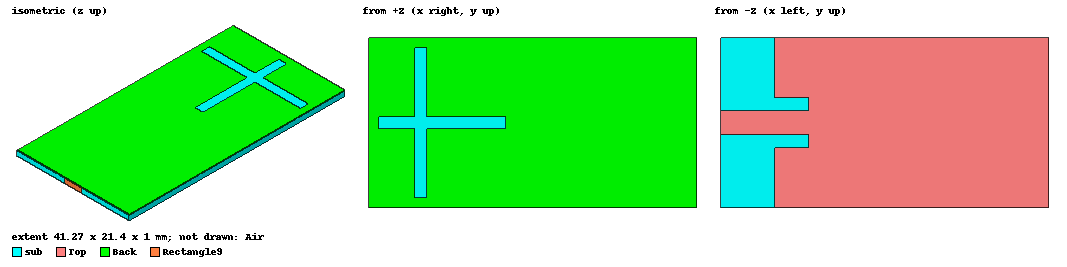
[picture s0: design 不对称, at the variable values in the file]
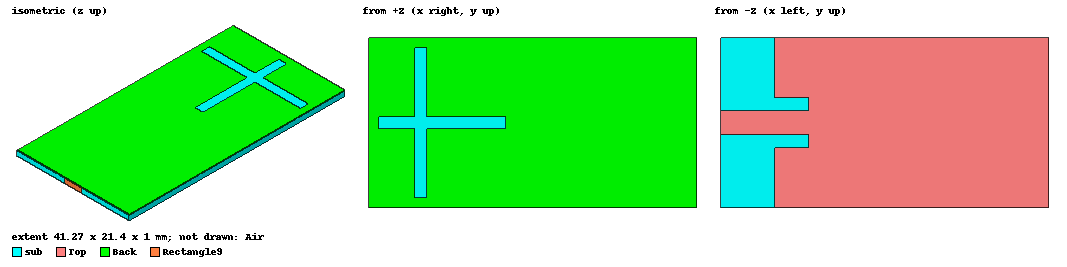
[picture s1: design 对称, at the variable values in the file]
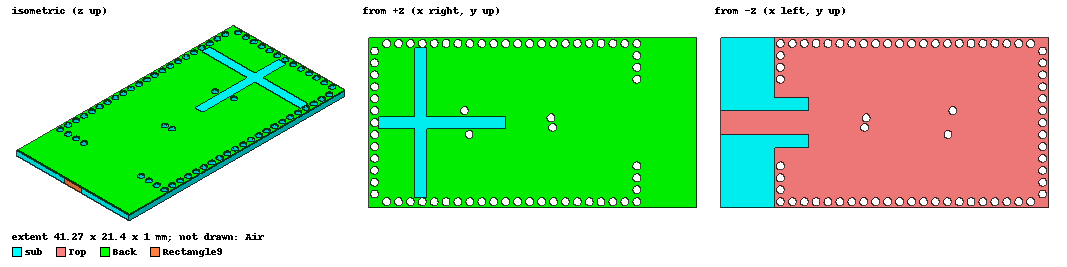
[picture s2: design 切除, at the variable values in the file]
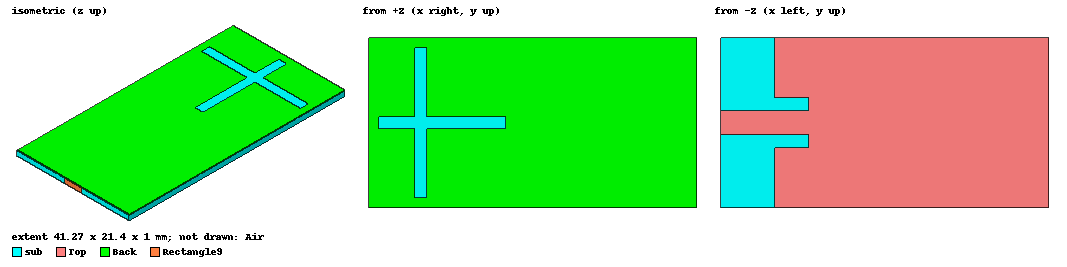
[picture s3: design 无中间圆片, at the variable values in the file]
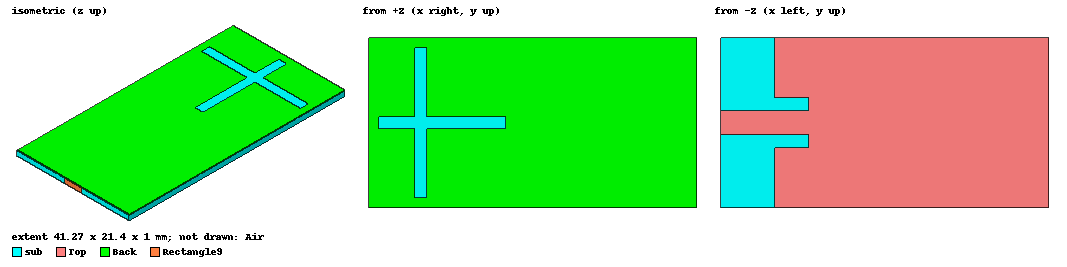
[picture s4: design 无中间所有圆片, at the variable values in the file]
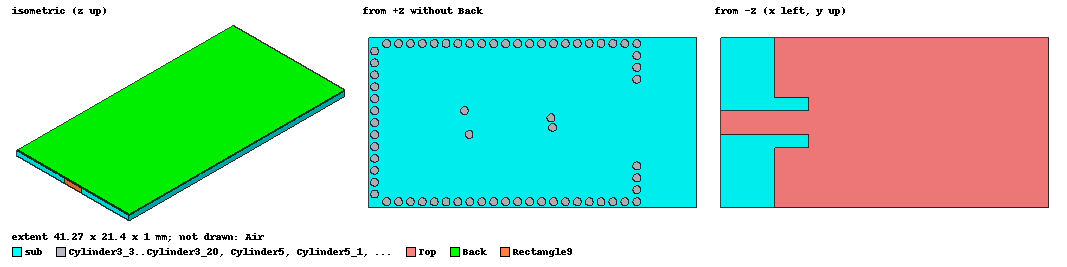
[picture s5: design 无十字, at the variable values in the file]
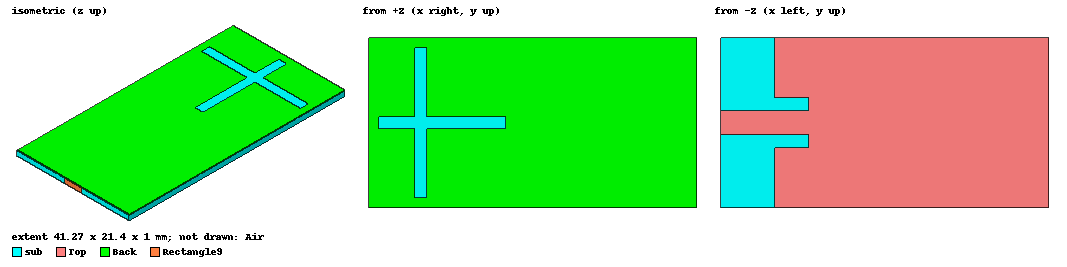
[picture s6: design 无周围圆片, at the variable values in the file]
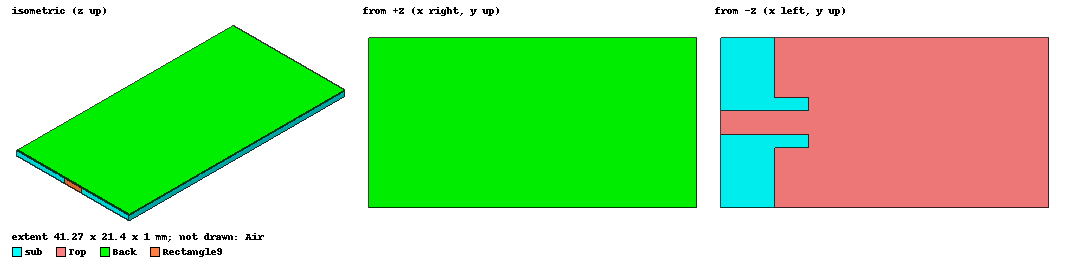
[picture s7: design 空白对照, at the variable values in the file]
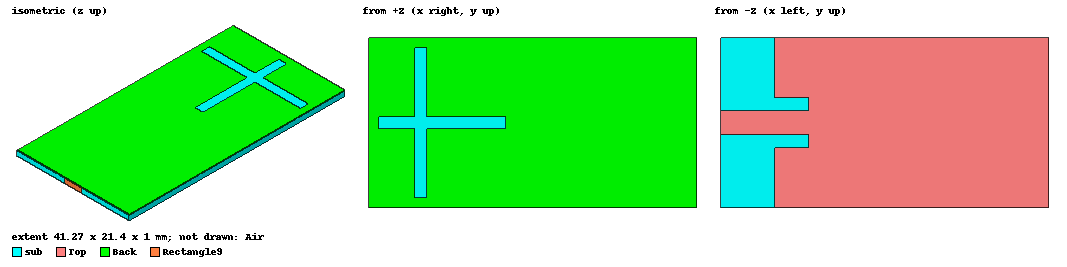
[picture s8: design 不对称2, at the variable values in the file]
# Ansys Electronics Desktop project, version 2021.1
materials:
  vacuum: permittivity=1
  pec: conductivity=1e+30
  Taconic TLY (tm): permittivity=2.2 dielectric_loss_tangent=0.0009

design 不对称 (HFSS, DrivenModal, model units mm)
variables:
  l1 = 33mm
  p = 1.5mm
  w1 = 19.9mm
  h0 = 1mm
  wf1 = 3.1mm
  lm = 3.5mm
  gm = 1.6mm
  l2 = 5.8mm
  ls2 = 16mm
  ls3 = 10.7mm
  ws2 = 1.5mm
  ws1 = 1.5mm
  ls1 = 18.9mm
  d = 1mm
  l4 = 5.5mm
  s1 = 3mm
  l5 = 6.1mm
  l6 = 16.4mm
  s2 = 1.2mm  # optimise 0.6mm..1.8mm
  s3 = 0.2mm  # optimise 0.1mm..0.3mm
  l0 = l5-l4
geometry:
  sub [Taconic TLY (tm)] = box(corner=(0mm, 0mm, 0mm), size=((l1+p)/418*500, w1+p, h0))
  Top = rectangle(corner=(0mm, 0mm, 0mm), x_size=(l1+p)/418*500, y_size=w1+p)
  Rectangle2 = rectangle(corner=(l1+p, 0mm, 0mm), x_size=(l1+p)/418*(500-418), y_size=(w1+p)/2-0.5*wf1)
  Rectangle3 = rectangle(corner=(l1+p, (w1+p)/2+0.5*wf1, 0mm), x_size=(l1+p)/418*(500-418), y_size=(w1+p)/2-0.5*wf1)
  Top.subtract(Rectangle2, Rectangle3)
  Rectangle4 = rectangle(corner=((l1+p)-lm-0.5*p, (w1+p)/2-0.5*wf1-gm, 0mm), x_size=lm+0.5*p, y_size=gm)
  Rectangle5 = rectangle(corner=((l1+p)-lm-0.5*p, (w1+p)/2+0.5*wf1, 0mm), x_size=lm+0.5*p, y_size=gm)
  Top.subtract(Rectangle4, Rectangle5)
  Back = rectangle(corner=(0mm, 0mm, 1mm), x_size=(l1+p)/418*500, y_size=w1+p)
  Rectangle7 = rectangle(corner=(0.5*p+l2-(ls2-ls3), 0.5*(w1+p)-0.5*ws2, 1mm), x_size=ls2, y_size=ws2)
  Rectangle8 = rectangle(corner=(0.5*p+l2-0.5*ws1, 0.5*(w1+p)-0.5*ls1, 1mm), x_size=ws1, y_size=ls1)
  Back.subtract(Rectangle7, Rectangle8)
  Air [vacuum] = box(corner=(-5mm, -5mm, -3mm), size=(52mm, 31mm, 7mm))
  Rectangle9 = rectangle(corner=((l1+p)/418*500, (w1+p)/2-0.5*wf1, 0mm), y_size=wf1, z_size=1mm)
  Cylinder1 [pec] = cylinder(axis=Z, base_centre=(0.5*p, (w1+p)/2, 0mm), radius=0.5*d, height=1mm)
  Cylinder1_1..Cylinder1_6 [pec] = Cylinder1.duplicate_along_line(step=(0mm, 1.5mm, 0mm), total=7)
  Cylinder1_7..Cylinder1_12 [pec] = Cylinder1.duplicate_along_line(step=(0mm, -1.5mm, 0mm), total=7)
  Cylinder2 [pec] = cylinder(axis=Z, base_centre=(1.5*p, 0.5*p, 0mm), radius=0.5*d, height=1mm)
  Cylinder2_1..Cylinder2_20 [pec] = Cylinder2.duplicate_along_line(step=(1.5mm, 0mm, 0mm), total=21)
  Cylinder3 [pec] = cylinder(axis=Z, base_centre=(1.5*p, 0.5*p+w1, 0mm), radius=0.5*d, height=1mm)
  Cylinder3_1..Cylinder3_20 [pec] = Cylinder3.duplicate_along_line(step=(1.5mm, 0mm, 0mm), total=21)
  Cylinder4 [pec] = cylinder(axis=Z, base_centre=(l1+0.5*p, 0.5*p, 0mm), radius=0.5*d, height=1mm)
  Cylinder5 [pec] = cylinder(axis=Z, base_centre=(l1+0.5*p, 0.5*p+w1, 0mm), radius=0.5*d, height=1mm)
  Cylinder4_1, Cylinder4_2, Cylinder4_3 [pec] = Cylinder4.duplicate_along_line(step=(0mm, 1.5mm, 0mm), total=4)
  Cylinder5_1, Cylinder5_2, Cylinder5_3 [pec] = Cylinder5.duplicate_along_line(step=(0mm, -1.5mm, 0mm), total=4)
  Cylinder6 [pec] = cylinder(axis=Z, base_centre=(0.5*p+l2+l4, (w1+p)/2+0.5*s1, 0mm), radius=0.5*d, height=1mm)
  Cylinder7 [pec] = cylinder(axis=Z, base_centre=(0.5*p+l2+l5, (w1+p)/2-0.5*s1, 0mm), radius=0.5*d, height=1mm)
  Cylinder8 [pec] = cylinder(axis=Z, base_centre=(0.5*p+l2+l6, (w1+p)/2+0.5*s2, 0mm), radius=0.5*d, height=1mm)
  Cylinder9 [pec] = cylinder(axis=Z, base_centre=(0.5*p+l2+l6+s3, (w1+p)/2-0.5*s2, 0mm), radius=0.5*d, height=1mm)
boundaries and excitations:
  PerfE1: Perfect E Objects=[Back, Top]
  Rad1: Radiation Objects=Air
  1: Lumped Port Objects=Rectangle9 Modes{Mode1{IntLine{middle of Rectangle9.edge(z opposite corner) -> middle of Rectangle9.edge(z at corner)} CharImp=Zpi RenormImp=50ohm}} Impedance=50ohm
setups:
  Setup1: HfssDriven Frequency=10GHz MaxDeltaS=0.02 MaximumPasses=6 MinimumPasses=1 MinimumConvergedPasses=1 PercentRefinement=30 BasisOrder=1 PortAccuracy=2
    sweep Sweep: 8.5GHz to 11.5GHz step 0.01GHz; Type=Fast SaveFields
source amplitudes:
  1:1: 1W 0deg
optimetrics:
  ParametricSetup1: Parametric Sim._Setups=[Setup1]
    sweep s2: LIN 1mm 1.4mm 0.2mm
    sweep s3: LIN 0mm 0.4mm 0.2mm
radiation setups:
  Infinite Sphere1: Infinite Sphere Theta=-180deg..180deg step 2deg Phi=-180deg..180deg step 2deg
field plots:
  Mag_E1: E Field over sub.face(+z, -z) Back.face(at (20.634, 10.7, 1)) on Setup1 : Sweep at Freq=8.9GHz Phase=0deg
  Mag_E2: E Field over Back.face(at (20.634, 10.7, 1)) on Setup1 : Sweep at Freq=9.4GHz Phase=0deg
  Mag_E3: E Field over Back.face(at (20.634, 10.7, 1)) on Setup1 : Sweep at Freq=9.8GHz Phase=0deg
  Mag_E4: E Field over Back.face(at (20.634, 10.7, 1)) on Setup1 : Sweep at Freq=10.6GHz Phase=0deg
  Mag_E5: E Field over Back.face(at (20.634, 10.7, 1)) on Setup1 : Sweep at Freq=10.9GHz Phase=0deg
  Mag_E6: E Field in sub on Setup1 : Sweep at Freq=8.9GHz Phase=0deg
  Mag_E7: E Field in sub on Setup1 : Sweep at Freq=9.4GHz Phase=0deg
  Mag_E8: E Field in sub on Setup1 : Sweep at Freq=9.8GHz Phase=0deg
  Mag_E9: E Field in sub on Setup1 : Sweep at Freq=10.6GHz Phase=0deg
  Mag_E10: E Field in sub on Setup1 : Sweep at Freq=10.9GHz Phase=0deg
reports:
  S Parameter Plot 1: dB(S(1,1)) vs Freq on Setup1 : Sweep; markers m1 at 8.92GHz, m2 at 9.04GHz, m3 at 9.46GHz, m4 at 10.57GHz, m5 at 10.77GHz, m6 at 10.9GHz
  Gain Plot 1: dB(GainTotal) vs Theta on Setup1 : Sweep, Infinite Sphere1 [Phi=0deg,90deg Freq=9.6GHz]
  Gain Plot 2: dB(GainTotal) vs Theta on Setup1 : Sweep, Infinite Sphere1 [Phi=0deg,90deg Freq=10.4GHz]
  Antenna Params Plot 2: abs(RadiationEfficiency) vs Freq on Setup1 : Sweep; markers m1 at 10.13GHz, m2 at 10.21GHz
  Antenna Params Plot 3: dB(PeakGain) vs Freq on Setup1 : Sweep; markers m1 at 10.58GHz
  Antenna Params Plot 4: dB(PeakRealizedGain) vs Freq on Setup1 : Sweep
  S Parameter Plot 2: dB(S(1,1)) vs Freq on Setup1 : Sweep [s2=all s3=0.2mm]
  S Parameter Plot 3: dB(S(1,1)) vs Freq on Setup1 : Sweep [s2=1.2mm s3=all]

design 对称 (HFSS, DrivenModal, model units mm)
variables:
  l1 = 33mm
  p = 1.5mm
  w1 = 19.9mm
  h0 = 1mm
  wf1 = 3.1mm
  lm = 3.5mm
  gm = 1.6mm
  l2 = 5.8mm
  ls2 = 16mm
  ls3 = 10.7mm
  ws2 = 1.5mm
  ws1 = 1.5mm
  ls1 = 18.9mm
  d = 1mm
  l4 = 5.5mm
  s1 = 3mm
  l5 = 6.1mm
  l6 = 16.4mm
  s2 = 1.2mm
  s3 = 0.2mm
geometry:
  sub [Taconic TLY (tm)] = box(corner=(0mm, 0mm, 0mm), size=((l1+p)/418*500, w1+p, h0))
  Top = rectangle(corner=(0mm, 0mm, 0mm), x_size=(l1+p)/418*500, y_size=w1+p)
  Rectangle2 = rectangle(corner=(l1+p, 0mm, 0mm), x_size=(l1+p)/418*(500-418), y_size=(w1+p)/2-0.5*wf1)
  Rectangle3 = rectangle(corner=(l1+p, (w1+p)/2+0.5*wf1, 0mm), x_size=(l1+p)/418*(500-418), y_size=(w1+p)/2-0.5*wf1)
  Top.subtract(Rectangle2, Rectangle3)
  Rectangle4 = rectangle(corner=((l1+p)-lm-0.5*p, (w1+p)/2-0.5*wf1-gm, 0mm), x_size=lm+0.5*p, y_size=gm)
  Rectangle5 = rectangle(corner=((l1+p)-lm-0.5*p, (w1+p)/2+0.5*wf1, 0mm), x_size=lm+0.5*p, y_size=gm)
  Top.subtract(Rectangle4, Rectangle5)
  Back = rectangle(corner=(0mm, 0mm, 1mm), x_size=(l1+p)/418*500, y_size=w1+p)
  Rectangle7 = rectangle(corner=(0.5*p+l2-(ls2-ls3), 0.5*(w1+p)-0.5*ws2, 1mm), x_size=ls2, y_size=ws2)
  Rectangle8 = rectangle(corner=(0.5*p+l2-0.5*ws1, 0.5*(w1+p)-0.5*ls1, 1mm), x_size=ws1, y_size=ls1)
  Back.subtract(Rectangle7, Rectangle8)
  Air [vacuum] = box(corner=(-5mm, -5mm, -3mm), size=(52mm, 31mm, 7mm))
  Rectangle9 = rectangle(corner=((l1+p)/418*500, (w1+p)/2-0.5*wf1, 0mm), y_size=wf1, z_size=1mm)
  Cylinder1 [pec] = cylinder(axis=Z, base_centre=(0.5*p, (w1+p)/2, 0mm), radius=0.5*d, height=1mm)
  Cylinder1_1..Cylinder1_6 [pec] = Cylinder1.duplicate_along_line(step=(0mm, 1.5mm, 0mm), total=7)
  Cylinder1_7..Cylinder1_12 [pec] = Cylinder1.duplicate_along_line(step=(0mm, -1.5mm, 0mm), total=7)
  Cylinder2 [pec] = cylinder(axis=Z, base_centre=(1.5*p, 0.5*p, 0mm), radius=0.5*d, height=1mm)
  Cylinder2_1..Cylinder2_20 [pec] = Cylinder2.duplicate_along_line(step=(1.5mm, 0mm, 0mm), total=21)
  Cylinder3 [pec] = cylinder(axis=Z, base_centre=(1.5*p, 0.5*p+w1, 0mm), radius=0.5*d, height=1mm)
  Cylinder3_1..Cylinder3_20 [pec] = Cylinder3.duplicate_along_line(step=(1.5mm, 0mm, 0mm), total=21)
  Cylinder4 [pec] = cylinder(axis=Z, base_centre=(l1+0.5*p, 0.5*p, 0mm), radius=0.5*d, height=1mm)
  Cylinder5 [pec] = cylinder(axis=Z, base_centre=(l1+0.5*p, 0.5*p+w1, 0mm), radius=0.5*d, height=1mm)
  Cylinder4_1, Cylinder4_2, Cylinder4_3 [pec] = Cylinder4.duplicate_along_line(step=(0mm, 1.5mm, 0mm), total=4)
  Cylinder5_1, Cylinder5_2, Cylinder5_3 [pec] = Cylinder5.duplicate_along_line(step=(0mm, -1.5mm, 0mm), total=4)
  Cylinder6 [pec] = cylinder(axis=Z, base_centre=(0.5*p+l2+l4, (w1+p)/2+0.5*s1, 0mm), radius=0.5*d, height=1mm)
  Cylinder7 [pec] = cylinder(axis=Z, base_centre=(0.5*p+l2+l4, (w1+p)/2-0.5*s1, 0mm), radius=0.5*d, height=1mm)
  Cylinder8 [pec] = cylinder(axis=Z, base_centre=(0.5*p+l2+l6, (w1+p)/2+0.5*s2, 0mm), radius=0.5*d, height=1mm)
  Cylinder9 [pec] = cylinder(axis=Z, base_centre=(0.5*p+l2+l6, (w1+p)/2-0.5*s2, 0mm), radius=0.5*d, height=1mm)
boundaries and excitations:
  PerfE1: Perfect E Objects=[Back, Top]
  Rad1: Radiation Objects=Air
  1: Lumped Port Objects=Rectangle9 Modes{Mode1{IntLine{middle of Rectangle9.edge(z opposite corner) -> middle of Rectangle9.edge(z at corner)} CharImp=Zpi RenormImp=50ohm}} Impedance=50ohm
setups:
  Setup1: HfssDriven Frequency=10GHz MaxDeltaS=0.02 MaximumPasses=6 MinimumPasses=1 MinimumConvergedPasses=1 PercentRefinement=30 BasisOrder=1 PortAccuracy=2
    sweep Sweep: 8.5GHz to 11.5GHz step 0.01GHz; Type=Fast SaveFields
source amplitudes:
  1:1: 1W 0deg
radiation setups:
  Infinite Sphere1: Infinite Sphere Theta=-180deg..180deg step 2deg Phi=-180deg..180deg step 2deg
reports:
  S Parameter Plot 1: dB(S(1,1)) vs Freq on Setup1 : Sweep; markers m1 at 9.8GHz, m2 at 10.97GHz
  Gain Plot 1: dB(GainTotal) vs Theta on Setup1 : Sweep, Infinite Sphere1 [Phi=0deg,90deg Freq=9.6GHz]
  Gain Plot 2: dB(GainTotal) vs Theta on Setup1 : Sweep, Infinite Sphere1 [Phi=0deg,90deg Freq=10.4GHz]
  Antenna Params Plot 2: abs(RadiationEfficiency) vs Freq on Setup1 : Sweep

design 切除 (HFSS, DrivenModal, model units mm)
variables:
  l1 = 33mm
  p = 1.5mm
  w1 = 19.9mm
  h0 = 1mm
  wf1 = 3.1mm
  lm = 3.5mm
  gm = 1.6mm
  l2 = 5.8mm
  ls2 = 16mm
  ls3 = 10.7mm
  ws2 = 1.5mm
  ws1 = 1.5mm
  ls1 = 18.9mm
  d = 1mm
  l4 = 5.5mm
  s1 = 3mm
  l5 = 6.1mm
  l6 = 16.4mm
  s2 = 1.2mm
  s3 = 0.2mm
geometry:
  sub [Taconic TLY (tm)] = box(corner=(0mm, 0mm, 0mm), size=((l1+p)/418*500, w1+p, h0))
  Top = rectangle(corner=(0mm, 0mm, 0mm), x_size=(l1+p)/418*500, y_size=w1+p)
  Rectangle2 = rectangle(corner=(l1+p, 0mm, 0mm), x_size=(l1+p)/418*(500-418), y_size=(w1+p)/2-0.5*wf1)
  Rectangle3 = rectangle(corner=(l1+p, (w1+p)/2+0.5*wf1, 0mm), x_size=(l1+p)/418*(500-418), y_size=(w1+p)/2-0.5*wf1)
  Top.subtract(Rectangle2, Rectangle3)
  Rectangle4 = rectangle(corner=((l1+p)-lm-0.5*p, (w1+p)/2-0.5*wf1-gm, 0mm), x_size=lm+0.5*p, y_size=gm)
  Rectangle5 = rectangle(corner=((l1+p)-lm-0.5*p, (w1+p)/2+0.5*wf1, 0mm), x_size=lm+0.5*p, y_size=gm)
  Top.subtract(Rectangle4, Rectangle5)
  Back = rectangle(corner=(0mm, 0mm, 1mm), x_size=(l1+p)/418*500, y_size=w1+p)
  Rectangle7 = rectangle(corner=(0.5*p+l2-(ls2-ls3)+0.05*d, 0.5*(w1+p)-0.5*ws2, 1mm), x_size=ls2, y_size=ws2)
  Rectangle8 = rectangle(corner=(0.5*p+l2-0.5*ws1, 0.5*(w1+p)-0.5*ls1+0.05*d, 1mm), x_size=ws1, y_size=ls1-0.1*d)
  Back.subtract(Rectangle7, Rectangle8)
  Air [vacuum] = box(corner=(-5mm, -5mm, -3mm), size=(52mm, 31mm, 7mm))
  Rectangle9 = rectangle(corner=((l1+p)/418*500, (w1+p)/2-0.5*wf1, 0mm), y_size=wf1, z_size=1mm)
  Cylinder1 = cylinder(axis=Z, base_centre=(0.5*p, (w1+p)/2, 0mm), radius=0.5*d, height=1mm)
  Cylinder1_1..Cylinder1_6 = Cylinder1.duplicate_along_line(step=(0mm, 1.5mm, 0mm), total=7)
  Cylinder1_7..Cylinder1_12 = Cylinder1.duplicate_along_line(step=(0mm, -1.5mm, 0mm), total=7)
  Cylinder2 = cylinder(axis=Z, base_centre=(1.5*p, 0.5*p, 0mm), radius=0.5*d, height=1mm)
  Cylinder2_1..Cylinder2_20 = Cylinder2.duplicate_along_line(step=(1.5mm, 0mm, 0mm), total=21)
  Cylinder3 = cylinder(axis=Z, base_centre=(1.5*p, 0.5*p+w1, 0mm), radius=0.5*d, height=1mm)
  Cylinder3_1..Cylinder3_20 = Cylinder3.duplicate_along_line(step=(1.5mm, 0mm, 0mm), total=21)
  Cylinder4 = cylinder(axis=Z, base_centre=(l1+0.5*p, 0.5*p, 0mm), radius=0.5*d, height=1mm)
  Cylinder5 = cylinder(axis=Z, base_centre=(l1+0.5*p, 0.5*p+w1, 0mm), radius=0.5*d, height=1mm)
  Cylinder4_1, Cylinder4_2, Cylinder4_3 = Cylinder4.duplicate_along_line(step=(0mm, 1.5mm, 0mm), total=4)
  Cylinder5_1, Cylinder5_2, Cylinder5_3 = Cylinder5.duplicate_along_line(step=(0mm, -1.5mm, 0mm), total=4)
  Cylinder6 = cylinder(axis=Z, base_centre=(0.5*p+l2+l4, (w1+p)/2+0.5*s1, 0mm), radius=0.5*d, height=1mm)
  Cylinder7 = cylinder(axis=Z, base_centre=(0.5*p+l2+l5, (w1+p)/2-0.5*s1, 0mm), radius=0.5*d, height=1mm)
  Cylinder8 = cylinder(axis=Z, base_centre=(0.5*p+l2+l6, (w1+p)/2+0.5*s2, 0mm), radius=0.5*d, height=1mm)
  Cylinder9 = cylinder(axis=Z, base_centre=(0.5*p+l2+l6+s3, (w1+p)/2-0.5*s2, 0mm), radius=0.5*d, height=1mm)
  Cylinder1_13 = Cylinder1.copy()
  Cylinder1_1_1 = Cylinder1_1.copy()
  Cylinder1_10_1 = Cylinder1_10.copy()
  Cylinder1_11_1 = Cylinder1_11.copy()
  Cylinder1_12_1 = Cylinder1_12.copy()
  Cylinder1_2_1 = Cylinder1_2.copy()
  Cylinder1_3_1 = Cylinder1_3.copy()
  Cylinder1_4_1 = Cylinder1_4.copy()
  Cylinder1_5_1 = Cylinder1_5.copy()
  Cylinder1_6_1 = Cylinder1_6.copy()
  Cylinder1_7_1 = Cylinder1_7.copy()
  Cylinder1_8_1 = Cylinder1_8.copy()
  Cylinder1_9_1 = Cylinder1_9.copy()
  Cylinder2_21 = Cylinder2.copy()
  Cylinder2_1_1 = Cylinder2_1.copy()
  Cylinder2_10_1 = Cylinder2_10.copy()
  Cylinder2_11_1 = Cylinder2_11.copy()
  Cylinder2_12_1 = Cylinder2_12.copy()
  Cylinder2_13_1 = Cylinder2_13.copy()
  Cylinder2_14_1 = Cylinder2_14.copy()
  Cylinder2_15_1 = Cylinder2_15.copy()
  Cylinder2_16_1 = Cylinder2_16.copy()
  Cylinder2_17_1 = Cylinder2_17.copy()
  Cylinder2_18_1 = Cylinder2_18.copy()
  Cylinder2_19_1 = Cylinder2_19.copy()
  Cylinder2_2_1 = Cylinder2_2.copy()
  Cylinder2_20_1 = Cylinder2_20.copy()
  Cylinder2_3_1 = Cylinder2_3.copy()
  Cylinder2_4_1 = Cylinder2_4.copy()
  Cylinder2_5_1 = Cylinder2_5.copy()
  Cylinder2_6_1 = Cylinder2_6.copy()
  Cylinder2_7_1 = Cylinder2_7.copy()
  Cylinder2_8_1 = Cylinder2_8.copy()
  Cylinder2_9_1 = Cylinder2_9.copy()
  Cylinder3_21 = Cylinder3.copy()
  Cylinder3_1_1 = Cylinder3_1.copy()
  Cylinder3_10_1 = Cylinder3_10.copy()
  Cylinder3_11_1 = Cylinder3_11.copy()
  Cylinder3_12_1 = Cylinder3_12.copy()
  Cylinder3_13_1 = Cylinder3_13.copy()
  Cylinder3_14_1 = Cylinder3_14.copy()
  Cylinder3_15_1 = Cylinder3_15.copy()
  Cylinder3_16_1 = Cylinder3_16.copy()
  Cylinder3_17_1 = Cylinder3_17.copy()
  Cylinder3_18_1 = Cylinder3_18.copy()
  Cylinder3_19_1 = Cylinder3_19.copy()
  Cylinder3_2_1 = Cylinder3_2.copy()
  Cylinder3_20_1 = Cylinder3_20.copy()
  Cylinder3_3_1 = Cylinder3_3.copy()
  Cylinder3_4_1 = Cylinder3_4.copy()
  Cylinder3_5_1 = Cylinder3_5.copy()
  Cylinder3_6_1 = Cylinder3_6.copy()
  Cylinder3_7_1 = Cylinder3_7.copy()
  Cylinder3_8_1 = Cylinder3_8.copy()
  Cylinder3_9_1 = Cylinder3_9.copy()
  Cylinder4_4 = Cylinder4.copy()
  Cylinder4_1_1 = Cylinder4_1.copy()
  Cylinder4_2_1 = Cylinder4_2.copy()
  Cylinder4_3_1 = Cylinder4_3.copy()
  Cylinder5_4 = Cylinder5.copy()
  Cylinder5_1_1 = Cylinder5_1.copy()
  Cylinder5_2_1 = Cylinder5_2.copy()
  Cylinder5_3_1 = Cylinder5_3.copy()
  Cylinder6_1 = Cylinder6.copy()
  Cylinder7_1 = Cylinder7.copy()
  Cylinder8_1 = Cylinder8.copy()
  Cylinder9_1 = Cylinder9.copy()
  Back.subtract(Cylinder1_13, Cylinder1_1_1, Cylinder1_10_1, Cylinder1_11_1, Cylinder1_12_1, Cylinder1_2_1, Cylinder1_3_1, Cylinder1_4_1, Cylinder1_5_1, Cylinder1_6_1, Cylinder1_7_1, Cylinder1_8_1, Cylinder1_9_1, Cylinder2_21, Cylinder2_1_1, Cylinder2_10_1, Cylinder2_11_1, Cylinder2_12_1, Cylinder2_13_1, Cylinder2_14_1, Cylinder2_15_1, Cylinder2_16_1, Cylinder2_17_1, Cylinder2_18_1, Cylinder2_19_1, Cylinder2_2_1, Cylinder2_20_1, Cylinder2_3_1, Cylinder2_4_1, Cylinder2_5_1, Cylinder2_6_1, Cylinder2_7_1, Cylinder2_8_1, Cylinder2_9_1, Cylinder3_21, Cylinder3_1_1, Cylinder3_10_1, Cylinder3_11_1, Cylinder3_12_1, Cylinder3_13_1, Cylinder3_14_1, Cylinder3_15_1, Cylinder3_16_1, Cylinder3_17_1, Cylinder3_18_1, Cylinder3_19_1, Cylinder3_2_1, Cylinder3_20_1, Cylinder3_3_1, Cylinder3_4_1, Cylinder3_5_1, Cylinder3_6_1, Cylinder3_7_1, Cylinder3_8_1, Cylinder3_9_1, Cylinder4_4, Cylinder4_1_1, Cylinder4_2_1, Cylinder4_3_1, Cylinder5_4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)
  Cylinder1_14 = Cylinder1.copy()
  Cylinder1_1_2 = Cylinder1_1.copy()
  Cylinder1_10_2 = Cylinder1_10.copy()
  Cylinder1_11_2 = Cylinder1_11.copy()
  Cylinder1_12_2 = Cylinder1_12.copy()
  Cylinder1_2_2 = Cylinder1_2.copy()
  Cylinder1_3_2 = Cylinder1_3.copy()
  Cylinder1_4_2 = Cylinder1_4.copy()
  Cylinder1_5_2 = Cylinder1_5.copy()
  Cylinder1_6_2 = Cylinder1_6.copy()
  Cylinder1_7_2 = Cylinder1_7.copy()
  Cylinder1_8_2 = Cylinder1_8.copy()
  Cylinder1_9_2 = Cylinder1_9.copy()
  Cylinder2_22 = Cylinder2.copy()
  Cylinder2_1_2 = Cylinder2_1.copy()
  Cylinder2_10_2 = Cylinder2_10.copy()
  Cylinder2_11_2 = Cylinder2_11.copy()
  Cylinder2_12_2 = Cylinder2_12.copy()
  Cylinder2_13_2 = Cylinder2_13.copy()
  Cylinder2_14_2 = Cylinder2_14.copy()
  Cylinder2_15_2 = Cylinder2_15.copy()
  Cylinder2_16_2 = Cylinder2_16.copy()
  Cylinder2_17_2 = Cylinder2_17.copy()
  Cylinder2_18_2 = Cylinder2_18.copy()
  Cylinder2_19_2 = Cylinder2_19.copy()
  Cylinder2_2_2 = Cylinder2_2.copy()
  Cylinder2_20_2 = Cylinder2_20.copy()
  Cylinder2_3_2 = Cylinder2_3.copy()
  Cylinder2_4_2 = Cylinder2_4.copy()
  Cylinder2_5_2 = Cylinder2_5.copy()
  Cylinder2_6_2 = Cylinder2_6.copy()
  Cylinder2_7_2 = Cylinder2_7.copy()
  Cylinder2_8_2 = Cylinder2_8.copy()
  Cylinder2_9_2 = Cylinder2_9.copy()
  Cylinder3_22 = Cylinder3.copy()
  Cylinder3_1_2 = Cylinder3_1.copy()
  Cylinder3_10_2 = Cylinder3_10.copy()
  Cylinder3_11_2 = Cylinder3_11.copy()
  Cylinder3_12_2 = Cylinder3_12.copy()
  Cylinder3_13_2 = Cylinder3_13.copy()
  Cylinder3_14_2 = Cylinder3_14.copy()
  Cylinder3_15_2 = Cylinder3_15.copy()
  Cylinder3_16_2 = Cylinder3_16.copy()
  Cylinder3_17_2 = Cylinder3_17.copy()
  Cylinder3_18_2 = Cylinder3_18.copy()
  Cylinder3_19_2 = Cylinder3_19.copy()
  Cylinder3_2_2 = Cylinder3_2.copy()
  Cylinder3_20_2 = Cylinder3_20.copy()
  Cylinder3_3_2 = Cylinder3_3.copy()
  Cylinder3_4_2 = Cylinder3_4.copy()
  Cylinder3_5_2 = Cylinder3_5.copy()
  Cylinder3_6_2 = Cylinder3_6.copy()
  Cylinder3_7_2 = Cylinder3_7.copy()
  Cylinder3_8_2 = Cylinder3_8.copy()
  Cylinder3_9_2 = Cylinder3_9.copy()
  Cylinder4_5 = Cylinder4.copy()
  Cylinder4_1_2 = Cylinder4_1.copy()
  Cylinder4_2_2 = Cylinder4_2.copy()
  Cylinder4_3_2 = Cylinder4_3.copy()
  Cylinder5_5 = Cylinder5.copy()
  Cylinder5_1_2 = Cylinder5_1.copy()
  Cylinder5_2_2 = Cylinder5_2.copy()
  Cylinder5_3_2 = Cylinder5_3.copy()
  Cylinder6_2 = Cylinder6.copy()
  Cylinder7_2 = Cylinder7.copy()
  Cylinder8_2 = Cylinder8.copy()
  Cylinder9_2 = Cylinder9.copy()
  sub.subtract(Cylinder1_14, Cylinder1_1_2, Cylinder1_10_2, Cylinder1_11_2, Cylinder1_12_2, Cylinder1_2_2, Cylinder1_3_2, Cylinder1_4_2, Cylinder1_5_2, Cylinder1_6_2, Cylinder1_7_2, Cylinder1_8_2, Cylinder1_9_2, Cylinder2_22, Cylinder2_1_2, Cylinder2_10_2, Cylinder2_11_2, Cylinder2_12_2, Cylinder2_13_2, Cylinder2_14_2, Cylinder2_15_2, Cylinder2_16_2, Cylinder2_17_2, Cylinder2_18_2, Cylinder2_19_2, Cylinder2_2_2, Cylinder2_20_2, Cylinder2_3_2, Cylinder2_4_2, Cylinder2_5_2, Cylinder2_6_2, Cylinder2_7_2, Cylinder2_8_2, Cylinder2_9_2, Cylinder3_22, Cylinder3_1_2, Cylinder3_10_2, Cylinder3_11_2, Cylinder3_12_2, Cylinder3_13_2, Cylinder3_14_2, Cylinder3_15_2, Cylinder3_16_2, Cylinder3_17_2, Cylinder3_18_2, Cylinder3_19_2, Cylinder3_2_2, Cylinder3_20_2, Cylinder3_3_2, Cylinder3_4_2, Cylinder3_5_2, Cylinder3_6_2, Cylinder3_7_2, Cylinder3_8_2, Cylinder3_9_2, Cylinder4_5, Cylinder4_1_2, Cylinder4_2_2, Cylinder4_3_2, Cylinder5_5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)
  Top.subtract(Cylinder1, Cylinder1_1, Cylinder1_10, Cylinder1_11, Cylinder1_12, Cylinder1_2..Cylinder1_9, Cylinder2, Cylinder2_1, Cylinder2_10..Cylinder2_19, Cylinder2_2, Cylinder2_20, Cylinder2_3..Cylinder2_9, Cylinder3, Cylinder3_1, Cylinder3_10..Cylinder3_19, Cylinder3_2, Cylinder3_20, Cylinder3_3..Cylinder3_9, Cylinder4, Cylinder4_1, Cylinder4_2, Cylinder4_3, Cylinder5, Cylinder5_1, Cylinder5_2, Cylinder5_3, Cylinder6..Cylinder9)
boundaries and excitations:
  PerfE1: Perfect E Objects=[Back, Top]
  Rad1: Radiation Objects=Air
  1: Lumped Port Objects=Rectangle9 Modes{Mode1{IntLine{middle of Rectangle9.edge(z opposite corner) -> middle of Rectangle9.edge(z at corner)} CharImp=Zpi RenormImp=50ohm}} Impedance=50ohm
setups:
  Setup1: HfssDriven Frequency=10GHz MaxDeltaS=0.02 MaximumPasses=6 MinimumPasses=1 MinimumConvergedPasses=1 PercentRefinement=30 BasisOrder=1 PortAccuracy=2
    sweep Sweep: 8.5GHz to 11.5GHz step 0.01GHz; Type=Fast SaveFields
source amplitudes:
  1:1: 1W 0deg
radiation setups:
  Infinite Sphere1: Infinite Sphere Theta=-180deg..180deg step 2deg Phi=-180deg..180deg step 2deg
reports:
  S Parameter Plot 1: dB(S(1,1)) vs Freq on Setup1 : Sweep; markers m1 at 9.7GHz, m2 at 10.31GHz
  Gain Plot 1: dB(GainTotal) vs Theta on Setup1 : Sweep, Infinite Sphere1 [Phi=0deg,90deg Freq=9.6GHz]
  Gain Plot 2: dB(GainTotal) vs Theta on Setup1 : Sweep, Infinite Sphere1 [Phi=0deg,90deg Freq=10.4GHz]
  Antenna Params Plot 1: dB(PeakGain) vs Freq on Setup1 : Sweep; markers m1 at 9.79GHz
  Antenna Params Plot 2: abs(RadiationEfficiency) vs Freq on Setup1 : Sweep
  Antenna Params Plot 3: dB(PeakRealizedGain) vs Freq on Setup1 : Sweep

design 无中间圆片 (HFSS, DrivenModal, model units mm)
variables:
  l1 = 33mm
  p = 1.5mm
  w1 = 19.9mm
  h0 = 1mm
  wf1 = 3.1mm
  lm = 3.5mm
  gm = 1.6mm
  l2 = 5.8mm
  ls2 = 16mm
  ls3 = 10.7mm
  ws2 = 1.5mm
  ws1 = 1.5mm
  ls1 = 18.9mm
  d = 1mm
  l4 = 5.5mm
  s1 = 3mm
  l5 = 6.1mm
  l6 = 16.4mm
  s2 = 1.2mm
  s3 = 0.2mm
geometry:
  sub [Taconic TLY (tm)] = box(corner=(0mm, 0mm, 0mm), size=((l1+p)/418*500, w1+p, h0))
  Top = rectangle(corner=(0mm, 0mm, 0mm), x_size=(l1+p)/418*500, y_size=w1+p)
  Rectangle2 = rectangle(corner=(l1+p, 0mm, 0mm), x_size=(l1+p)/418*(500-418), y_size=(w1+p)/2-0.5*wf1)
  Rectangle3 = rectangle(corner=(l1+p, (w1+p)/2+0.5*wf1, 0mm), x_size=(l1+p)/418*(500-418), y_size=(w1+p)/2-0.5*wf1)
  Top.subtract(Rectangle2, Rectangle3)
  Rectangle4 = rectangle(corner=((l1+p)-lm-0.5*p, (w1+p)/2-0.5*wf1-gm, 0mm), x_size=lm+0.5*p, y_size=gm)
  Rectangle5 = rectangle(corner=((l1+p)-lm-0.5*p, (w1+p)/2+0.5*wf1, 0mm), x_size=lm+0.5*p, y_size=gm)
  Top.subtract(Rectangle4, Rectangle5)
  Back = rectangle(corner=(0mm, 0mm, 1mm), x_size=(l1+p)/418*500, y_size=w1+p)
  Rectangle7 = rectangle(corner=(0.5*p+l2-(ls2-ls3), 0.5*(w1+p)-0.5*ws2, 1mm), x_size=ls2, y_size=ws2)
  Rectangle8 = rectangle(corner=(0.5*p+l2-0.5*ws1, 0.5*(w1+p)-0.5*ls1, 1mm), x_size=ws1, y_size=ls1)
  Back.subtract(Rectangle7, Rectangle8)
  Air [vacuum] = box(corner=(-5mm, -5mm, -3mm), size=(52mm, 31mm, 7mm))
  Rectangle9 = rectangle(corner=((l1+p)/418*500, (w1+p)/2-0.5*wf1, 0mm), y_size=wf1, z_size=1mm)
  Cylinder1 [pec] = cylinder(axis=Z, base_centre=(0.5*p, (w1+p)/2, 0mm), radius=0.5*d, height=1mm)
  Cylinder1_1..Cylinder1_6 [pec] = Cylinder1.duplicate_along_line(step=(0mm, 1.5mm, 0mm), total=7)
  Cylinder1_7..Cylinder1_12 [pec] = Cylinder1.duplicate_along_line(step=(0mm, -1.5mm, 0mm), total=7)
  Cylinder2 [pec] = cylinder(axis=Z, base_centre=(1.5*p, 0.5*p, 0mm), radius=0.5*d, height=1mm)
  Cylinder2_1..Cylinder2_20 [pec] = Cylinder2.duplicate_along_line(step=(1.5mm, 0mm, 0mm), total=21)
  Cylinder3 [pec] = cylinder(axis=Z, base_centre=(1.5*p, 0.5*p+w1, 0mm), radius=0.5*d, height=1mm)
  Cylinder3_1..Cylinder3_20 [pec] = Cylinder3.duplicate_along_line(step=(1.5mm, 0mm, 0mm), total=21)
  Cylinder4 [pec] = cylinder(axis=Z, base_centre=(l1+0.5*p, 0.5*p, 0mm), radius=0.5*d, height=1mm)
  Cylinder5 [pec] = cylinder(axis=Z, base_centre=(l1+0.5*p, 0.5*p+w1, 0mm), radius=0.5*d, height=1mm)
  Cylinder4_1, Cylinder4_2, Cylinder4_3 [pec] = Cylinder4.duplicate_along_line(step=(0mm, 1.5mm, 0mm), total=4)
  Cylinder5_1, Cylinder5_2, Cylinder5_3 [pec] = Cylinder5.duplicate_along_line(step=(0mm, -1.5mm, 0mm), total=4)
  Cylinder6 [pec] = cylinder(axis=Z, base_centre=(0.5*p+l2+l4, (w1+p)/2+0.5*s1, 0mm), radius=0.5*d, height=1mm)
  Cylinder7 [pec] = cylinder(axis=Z, base_centre=(0.5*p+l2+l5, (w1+p)/2-0.5*s1, 0mm), radius=0.5*d, height=1mm)
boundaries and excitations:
  PerfE1: Perfect E Objects=[Back, Top]
  Rad1: Radiation Objects=Air
  1: Lumped Port Objects=Rectangle9 Modes{Mode1{IntLine{middle of Rectangle9.edge(z opposite corner) -> middle of Rectangle9.edge(z at corner)} CharImp=Zpi RenormImp=50ohm}} Impedance=50ohm
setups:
  Setup1: HfssDriven Frequency=10GHz MaxDeltaS=0.02 MaximumPasses=6 MinimumPasses=1 MinimumConvergedPasses=1 PercentRefinement=30 BasisOrder=1 PortAccuracy=2
    sweep Sweep: 8.5GHz to 11.5GHz step 0.01GHz; Type=Fast SaveFields
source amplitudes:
  1:1: 1W 0deg
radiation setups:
  Infinite Sphere1: Infinite Sphere Theta=-180deg..180deg step 2deg Phi=-180deg..180deg step 2deg
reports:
  S Parameter Plot 1: dB(S(1,1)) vs Freq on Setup1 : Sweep; markers m1 at 10.5GHz, m2 at 10.74GHz
  Gain Plot 1: dB(GainTotal) vs Theta on Setup1 : Sweep, Infinite Sphere1 [Phi=0deg,90deg Freq=9.6GHz]
  Gain Plot 2: dB(GainTotal) vs Theta on Setup1 : Sweep, Infinite Sphere1 [Phi=0deg,90deg Freq=10.4GHz]
  Antenna Params Plot 2: abs(RadiationEfficiency) vs Freq on Setup1 : Sweep

design 无中间所有圆片 (HFSS, DrivenModal, model units mm)
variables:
  l1 = 33mm
  p = 1.5mm
  w1 = 19.9mm
  h0 = 1mm
  wf1 = 3.1mm
  lm = 3.5mm
  gm = 1.6mm
  l2 = 5.8mm
  ls2 = 16mm
  ls3 = 10.7mm
  ws2 = 1.5mm
  ws1 = 1.5mm
  ls1 = 18.9mm
  d = 1mm
  l4 = 5.5mm
  s1 = 3mm
  l5 = 6.1mm
  l6 = 16.4mm
  s2 = 1.2mm
  s3 = 0.2mm
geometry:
  sub [Taconic TLY (tm)] = box(corner=(0mm, 0mm, 0mm), size=((l1+p)/418*500, w1+p, h0))
  Top = rectangle(corner=(0mm, 0mm, 0mm), x_size=(l1+p)/418*500, y_size=w1+p)
  Rectangle2 = rectangle(corner=(l1+p, 0mm, 0mm), x_size=(l1+p)/418*(500-418), y_size=(w1+p)/2-0.5*wf1)
  Rectangle3 = rectangle(corner=(l1+p, (w1+p)/2+0.5*wf1, 0mm), x_size=(l1+p)/418*(500-418), y_size=(w1+p)/2-0.5*wf1)
  Top.subtract(Rectangle2, Rectangle3)
  Rectangle4 = rectangle(corner=((l1+p)-lm-0.5*p, (w1+p)/2-0.5*wf1-gm, 0mm), x_size=lm+0.5*p, y_size=gm)
  Rectangle5 = rectangle(corner=((l1+p)-lm-0.5*p, (w1+p)/2+0.5*wf1, 0mm), x_size=lm+0.5*p, y_size=gm)
  Top.subtract(Rectangle4, Rectangle5)
  Back = rectangle(corner=(0mm, 0mm, 1mm), x_size=(l1+p)/418*500, y_size=w1+p)
  Rectangle7 = rectangle(corner=(0.5*p+l2-(ls2-ls3), 0.5*(w1+p)-0.5*ws2, 1mm), x_size=ls2, y_size=ws2)
  Rectangle8 = rectangle(corner=(0.5*p+l2-0.5*ws1, 0.5*(w1+p)-0.5*ls1, 1mm), x_size=ws1, y_size=ls1)
  Back.subtract(Rectangle7, Rectangle8)
  Air [vacuum] = box(corner=(-5mm, -5mm, -3mm), size=(52mm, 31mm, 7mm))
  Rectangle9 = rectangle(corner=((l1+p)/418*500, (w1+p)/2-0.5*wf1, 0mm), y_size=wf1, z_size=1mm)
  Cylinder1 [pec] = cylinder(axis=Z, base_centre=(0.5*p, (w1+p)/2, 0mm), radius=0.5*d, height=1mm)
  Cylinder1_1..Cylinder1_6 [pec] = Cylinder1.duplicate_along_line(step=(0mm, 1.5mm, 0mm), total=7)
  Cylinder1_7..Cylinder1_12 [pec] = Cylinder1.duplicate_along_line(step=(0mm, -1.5mm, 0mm), total=7)
  Cylinder2 [pec] = cylinder(axis=Z, base_centre=(1.5*p, 0.5*p, 0mm), radius=0.5*d, height=1mm)
  Cylinder2_1..Cylinder2_20 [pec] = Cylinder2.duplicate_along_line(step=(1.5mm, 0mm, 0mm), total=21)
  Cylinder3 [pec] = cylinder(axis=Z, base_centre=(1.5*p, 0.5*p+w1, 0mm), radius=0.5*d, height=1mm)
  Cylinder3_1..Cylinder3_20 [pec] = Cylinder3.duplicate_along_line(step=(1.5mm, 0mm, 0mm), total=21)
  Cylinder4 [pec] = cylinder(axis=Z, base_centre=(l1+0.5*p, 0.5*p, 0mm), radius=0.5*d, height=1mm)
  Cylinder5 [pec] = cylinder(axis=Z, base_centre=(l1+0.5*p, 0.5*p+w1, 0mm), radius=0.5*d, height=1mm)
  Cylinder4_1, Cylinder4_2, Cylinder4_3 [pec] = Cylinder4.duplicate_along_line(step=(0mm, 1.5mm, 0mm), total=4)
  Cylinder5_1, Cylinder5_2, Cylinder5_3 [pec] = Cylinder5.duplicate_along_line(step=(0mm, -1.5mm, 0mm), total=4)
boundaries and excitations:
  PerfE1: Perfect E Objects=[Back, Top]
  Rad1: Radiation Objects=Air
  1: Lumped Port Objects=Rectangle9 Modes{Mode1{IntLine{middle of Rectangle9.edge(z opposite corner) -> middle of Rectangle9.edge(z at corner)} CharImp=Zpi RenormImp=50ohm}} Impedance=50ohm
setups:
  Setup1: HfssDriven Frequency=10GHz MaxDeltaS=0.02 MaximumPasses=6 MinimumPasses=1 MinimumConvergedPasses=1 PercentRefinement=30 BasisOrder=1 PortAccuracy=2
    sweep Sweep: 8.5GHz to 11.5GHz step 0.01GHz; Type=Fast SaveFields
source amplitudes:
  1:1: 1W 0deg
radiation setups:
  Infinite Sphere1: Infinite Sphere Theta=-180deg..180deg step 2deg Phi=-180deg..180deg step 2deg
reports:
  S Parameter Plot 1: dB(S(1,1)) vs Freq on Setup1 : Sweep

design 无十字 (HFSS, DrivenModal, model units mm)
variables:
  l1 = 33mm
  p = 1.5mm
  w1 = 19.9mm
  h0 = 1mm
  wf1 = 3.1mm
  lm = 3.5mm
  gm = 1.6mm
  l2 = 5.8mm
  ls2 = 16mm
  ls3 = 10.7mm
  ws2 = 1.5mm
  ws1 = 1.5mm
  ls1 = 18.9mm
  d = 1mm
  l4 = 5.5mm
  s1 = 3mm
  l5 = 6.1mm
  l6 = 16.4mm
  s2 = 1.2mm
  s3 = 0.2mm
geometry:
  sub [Taconic TLY (tm)] = box(corner=(0mm, 0mm, 0mm), size=((l1+p)/418*500, w1+p, h0))
  Top = rectangle(corner=(0mm, 0mm, 0mm), x_size=(l1+p)/418*500, y_size=w1+p)
  Rectangle2 = rectangle(corner=(l1+p, 0mm, 0mm), x_size=(l1+p)/418*(500-418), y_size=(w1+p)/2-0.5*wf1)
  Rectangle3 = rectangle(corner=(l1+p, (w1+p)/2+0.5*wf1, 0mm), x_size=(l1+p)/418*(500-418), y_size=(w1+p)/2-0.5*wf1)
  Top.subtract(Rectangle2, Rectangle3)
  Rectangle4 = rectangle(corner=((l1+p)-lm-0.5*p, (w1+p)/2-0.5*wf1-gm, 0mm), x_size=lm+0.5*p, y_size=gm)
  Rectangle5 = rectangle(corner=((l1+p)-lm-0.5*p, (w1+p)/2+0.5*wf1, 0mm), x_size=lm+0.5*p, y_size=gm)
  Top.subtract(Rectangle4, Rectangle5)
  Back = rectangle(corner=(0mm, 0mm, 1mm), x_size=(l1+p)/418*500, y_size=w1+p)
  Air [vacuum] = box(corner=(-5mm, -5mm, -3mm), size=(52mm, 31mm, 7mm))
  Rectangle9 = rectangle(corner=((l1+p)/418*500, (w1+p)/2-0.5*wf1, 0mm), y_size=wf1, z_size=1mm)
  Cylinder1 [pec] = cylinder(axis=Z, base_centre=(0.5*p, (w1+p)/2, 0mm), radius=0.5*d, height=1mm)
  Cylinder1_1..Cylinder1_6 [pec] = Cylinder1.duplicate_along_line(step=(0mm, 1.5mm, 0mm), total=7)
  Cylinder1_7..Cylinder1_12 [pec] = Cylinder1.duplicate_along_line(step=(0mm, -1.5mm, 0mm), total=7)
  Cylinder2 [pec] = cylinder(axis=Z, base_centre=(1.5*p, 0.5*p, 0mm), radius=0.5*d, height=1mm)
  Cylinder2_1..Cylinder2_20 [pec] = Cylinder2.duplicate_along_line(step=(1.5mm, 0mm, 0mm), total=21)
  Cylinder3 [pec] = cylinder(axis=Z, base_centre=(1.5*p, 0.5*p+w1, 0mm), radius=0.5*d, height=1mm)
  Cylinder3_1..Cylinder3_20 [pec] = Cylinder3.duplicate_along_line(step=(1.5mm, 0mm, 0mm), total=21)
  Cylinder4 [pec] = cylinder(axis=Z, base_centre=(l1+0.5*p, 0.5*p, 0mm), radius=0.5*d, height=1mm)
  Cylinder5 [pec] = cylinder(axis=Z, base_centre=(l1+0.5*p, 0.5*p+w1, 0mm), radius=0.5*d, height=1mm)
  Cylinder4_1, Cylinder4_2, Cylinder4_3 [pec] = Cylinder4.duplicate_along_line(step=(0mm, 1.5mm, 0mm), total=4)
  Cylinder5_1, Cylinder5_2, Cylinder5_3 [pec] = Cylinder5.duplicate_along_line(step=(0mm, -1.5mm, 0mm), total=4)
  Cylinder6 [pec] = cylinder(axis=Z, base_centre=(0.5*p+l2+l4, (w1+p)/2+0.5*s1, 0mm), radius=0.5*d, height=1mm)
  Cylinder7 [pec] = cylinder(axis=Z, base_centre=(0.5*p+l2+l5, (w1+p)/2-0.5*s1, 0mm), radius=0.5*d, height=1mm)
  Cylinder8 [pec] = cylinder(axis=Z, base_centre=(0.5*p+l2+l6, (w1+p)/2+0.5*s2, 0mm), radius=0.5*d, height=1mm)
  Cylinder9 [pec] = cylinder(axis=Z, base_centre=(0.5*p+l2+l6+s3, (w1+p)/2-0.5*s2, 0mm), radius=0.5*d, height=1mm)
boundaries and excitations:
  PerfE1: Perfect E Objects=[Back, Top]
  Rad1: Radiation Objects=Air
  1: Lumped Port Objects=Rectangle9 Modes{Mode1{IntLine{middle of Rectangle9.edge(z opposite corner) -> middle of Rectangle9.edge(z at corner)} CharImp=Zpi RenormImp=50ohm}} Impedance=50ohm
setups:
  Setup1: HfssDriven Frequency=10GHz MaxDeltaS=0.02 MaximumPasses=6 MinimumPasses=1 MinimumConvergedPasses=1 PercentRefinement=30 BasisOrder=1 PortAccuracy=2
    sweep Sweep: 8.5GHz to 11.5GHz step 0.01GHz; Type=Fast SaveFields
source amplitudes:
  1:1: 1W 0deg
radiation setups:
  Infinite Sphere1: Infinite Sphere Theta=-180deg..180deg step 2deg Phi=-180deg..180deg step 2deg
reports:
  S Parameter Plot 1: dB(S(1,1)) vs Freq on Setup1 : Sweep

design 无周围圆片 (HFSS, DrivenModal, model units mm)
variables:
  l1 = 33mm
  p = 1.5mm
  w1 = 19.9mm
  h0 = 1mm
  wf1 = 3.1mm
  lm = 3.5mm
  gm = 1.6mm
  l2 = 5.8mm
  ls2 = 16mm
  ls3 = 10.7mm
  ws2 = 1.5mm
  ws1 = 1.5mm
  ls1 = 18.9mm
  d = 1mm
  l4 = 5.5mm
  s1 = 3mm
  l5 = 6.1mm
  l6 = 16.4mm
  s2 = 1.2mm
  s3 = 0.2mm
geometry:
  sub [Taconic TLY (tm)] = box(corner=(0mm, 0mm, 0mm), size=((l1+p)/418*500, w1+p, h0))
  Top = rectangle(corner=(0mm, 0mm, 0mm), x_size=(l1+p)/418*500, y_size=w1+p)
  Rectangle2 = rectangle(corner=(l1+p, 0mm, 0mm), x_size=(l1+p)/418*(500-418), y_size=(w1+p)/2-0.5*wf1)
  Rectangle3 = rectangle(corner=(l1+p, (w1+p)/2+0.5*wf1, 0mm), x_size=(l1+p)/418*(500-418), y_size=(w1+p)/2-0.5*wf1)
  Top.subtract(Rectangle2, Rectangle3)
  Rectangle4 = rectangle(corner=((l1+p)-lm-0.5*p, (w1+p)/2-0.5*wf1-gm, 0mm), x_size=lm+0.5*p, y_size=gm)
  Rectangle5 = rectangle(corner=((l1+p)-lm-0.5*p, (w1+p)/2+0.5*wf1, 0mm), x_size=lm+0.5*p, y_size=gm)
  Top.subtract(Rectangle4, Rectangle5)
  Back = rectangle(corner=(0mm, 0mm, 1mm), x_size=(l1+p)/418*500, y_size=w1+p)
  Rectangle7 = rectangle(corner=(0.5*p+l2-(ls2-ls3), 0.5*(w1+p)-0.5*ws2, 1mm), x_size=ls2, y_size=ws2)
  Rectangle8 = rectangle(corner=(0.5*p+l2-0.5*ws1, 0.5*(w1+p)-0.5*ls1, 1mm), x_size=ws1, y_size=ls1)
  Back.subtract(Rectangle7, Rectangle8)
  Air [vacuum] = box(corner=(-5mm, -5mm, -3mm), size=(52mm, 31mm, 7mm))
  Rectangle9 = rectangle(corner=((l1+p)/418*500, (w1+p)/2-0.5*wf1, 0mm), y_size=wf1, z_size=1mm)
  Cylinder6 [pec] = cylinder(axis=Z, base_centre=(0.5*p+l2+l4, (w1+p)/2+0.5*s1, 0mm), radius=0.5*d, height=1mm)
  Cylinder7 [pec] = cylinder(axis=Z, base_centre=(0.5*p+l2+l5, (w1+p)/2-0.5*s1, 0mm), radius=0.5*d, height=1mm)
  Cylinder8 [pec] = cylinder(axis=Z, base_centre=(0.5*p+l2+l6, (w1+p)/2+0.5*s2, 0mm), radius=0.5*d, height=1mm)
  Cylinder9 [pec] = cylinder(axis=Z, base_centre=(0.5*p+l2+l6+s3, (w1+p)/2-0.5*s2, 0mm), radius=0.5*d, height=1mm)
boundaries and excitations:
  PerfE1: Perfect E Objects=[Back, Top]
  Rad1: Radiation Objects=Air
  1: Lumped Port Objects=Rectangle9 Modes{Mode1{IntLine{middle of Rectangle9.edge(z opposite corner) -> middle of Rectangle9.edge(z at corner)} CharImp=Zpi RenormImp=50ohm}} Impedance=50ohm
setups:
  Setup1: HfssDriven Frequency=10GHz MaxDeltaS=0.02 MaximumPasses=6 MinimumPasses=1 MinimumConvergedPasses=1 PercentRefinement=30 BasisOrder=1 PortAccuracy=2
    sweep Sweep: 8.5GHz to 11.5GHz step 0.01GHz; Type=Fast SaveFields
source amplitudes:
  1:1: 1W 0deg
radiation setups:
  Infinite Sphere1: Infinite Sphere Theta=-180deg..180deg step 2deg Phi=-180deg..180deg step 2deg
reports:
  S Parameter Plot 1: dB(S(1,1)) vs Freq on Setup1 : Sweep; markers m1 at 10.74GHz, m2 at 10.99GHz

design 空白对照 (HFSS, DrivenModal, model units mm)
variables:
  l1 = 33mm
  p = 1.5mm
  w1 = 19.9mm
  h0 = 1mm
  wf1 = 3.1mm
  lm = 3.5mm
  gm = 1.6mm
  l2 = 5.8mm
  ls2 = 16mm
  ls3 = 10.7mm
  ws2 = 1.5mm
  ws1 = 1.5mm
  ls1 = 18.9mm
  d = 1mm
  l4 = 5.5mm
  s1 = 3mm
  l5 = 6.1mm
  l6 = 16.4mm
  s2 = 1.2mm
  s3 = 0.2mm
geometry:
  sub [Taconic TLY (tm)] = box(corner=(0mm, 0mm, 0mm), size=((l1+p)/418*500, w1+p, h0))
  Top = rectangle(corner=(0mm, 0mm, 0mm), x_size=(l1+p)/418*500, y_size=w1+p)
  Rectangle2 = rectangle(corner=(l1+p, 0mm, 0mm), x_size=(l1+p)/418*(500-418), y_size=(w1+p)/2-0.5*wf1)
  Rectangle3 = rectangle(corner=(l1+p, (w1+p)/2+0.5*wf1, 0mm), x_size=(l1+p)/418*(500-418), y_size=(w1+p)/2-0.5*wf1)
  Top.subtract(Rectangle2, Rectangle3)
  Rectangle4 = rectangle(corner=((l1+p)-lm-0.5*p, (w1+p)/2-0.5*wf1-gm, 0mm), x_size=lm+0.5*p, y_size=gm)
  Rectangle5 = rectangle(corner=((l1+p)-lm-0.5*p, (w1+p)/2+0.5*wf1, 0mm), x_size=lm+0.5*p, y_size=gm)
  Top.subtract(Rectangle4, Rectangle5)
  Back = rectangle(corner=(0mm, 0mm, 1mm), x_size=(l1+p)/418*500, y_size=w1+p)
  Air [vacuum] = box(corner=(-5mm, -5mm, -3mm), size=(52mm, 31mm, 7mm))
  Rectangle9 = rectangle(corner=((l1+p)/418*500, (w1+p)/2-0.5*wf1, 0mm), y_size=wf1, z_size=1mm)
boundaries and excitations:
  PerfE1: Perfect E Objects=[Back, Top]
  Rad1: Radiation Objects=Air
  1: Lumped Port Objects=Rectangle9 Modes{Mode1{IntLine{middle of Rectangle9.edge(z opposite corner) -> middle of Rectangle9.edge(z at corner)} CharImp=Zpi RenormImp=50ohm}} Impedance=50ohm
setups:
  Setup1: HfssDriven Frequency=10GHz MaxDeltaS=0.02 MaximumPasses=6 MinimumPasses=1 MinimumConvergedPasses=1 PercentRefinement=30 BasisOrder=1 PortAccuracy=2
    sweep Sweep: 8.5GHz to 11.5GHz step 0.01GHz; Type=Fast SaveFields
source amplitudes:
  1:1: 1W 0deg
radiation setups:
  Infinite Sphere1: Infinite Sphere Theta=-180deg..180deg step 2deg Phi=-180deg..180deg step 2deg
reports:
  S Parameter Plot 1: dB(S(1,1)) vs Freq on Setup1 : Sweep
  Gain Plot 1: dB(GainTotal) vs Theta on Setup1 : Sweep, Infinite Sphere1 [Phi=0deg,90deg Freq=9.6GHz]
  Gain Plot 2: dB(GainTotal) vs Theta on Setup1 : Sweep, Infinite Sphere1 [Phi=0deg,90deg Freq=10.4GHz]
  Antenna Params Plot 2: abs(RadiationEfficiency) vs Freq on Setup1 : Sweep
  Antenna Params Plot 3: dB(PeakGain) vs Freq on Setup1 : Sweep
  Antenna Params Plot 4: dB(PeakRealizedGain) vs Freq on Setup1 : Sweep

design 不对称2 (HFSS, DrivenModal, model units mm)
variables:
  l1 = 33mm
  p = 1.5mm
  w1 = 19.9mm
  h0 = 1mm
  wf1 = 3.1mm
  lm = 3.5mm
  gm = 1.6mm
  l2 = 5.8mm
  ls2 = 16mm
  ls3 = 10.7mm
  ws2 = 1.5mm
  ws1 = 1.5mm
  ls1 = 18.9mm
  d = 1mm
  l4 = 5.5mm
  s1 = 3mm
  l5 = 6.1mm
  l6 = 16.4mm
  s2 = 1.2mm  # optimise 0.6mm..1.8mm
  s3 = 0.2mm  # optimise 0.1mm..0.3mm
  l0 = 0mm
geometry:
  sub [Taconic TLY (tm)] = box(corner=(0mm, 0mm, 0mm), size=((l1+p)/418*500, w1+p, h0))
  Top = rectangle(corner=(0mm, 0mm, 0mm), x_size=(l1+p)/418*500, y_size=w1+p)
  Rectangle2 = rectangle(corner=(l1+p, 0mm, 0mm), x_size=(l1+p)/418*(500-418), y_size=(w1+p)/2-0.5*wf1)
  Rectangle3 = rectangle(corner=(l1+p, (w1+p)/2+0.5*wf1, 0mm), x_size=(l1+p)/418*(500-418), y_size=(w1+p)/2-0.5*wf1)
  Top.subtract(Rectangle2, Rectangle3)
  Rectangle4 = rectangle(corner=((l1+p)-lm-0.5*p, (w1+p)/2-0.5*wf1-gm, 0mm), x_size=lm+0.5*p, y_size=gm)
  Rectangle5 = rectangle(corner=((l1+p)-lm-0.5*p, (w1+p)/2+0.5*wf1, 0mm), x_size=lm+0.5*p, y_size=gm)
  Top.subtract(Rectangle4, Rectangle5)
  Back = rectangle(corner=(0mm, 0mm, 1mm), x_size=(l1+p)/418*500, y_size=w1+p)
  Rectangle7 = rectangle(corner=(0.5*p+l2-(ls2-ls3), 0.5*(w1+p)-0.5*ws2, 1mm), x_size=ls2, y_size=ws2)
  Rectangle8 = rectangle(corner=(0.5*p+l2-0.5*ws1, 0.5*(w1+p)-0.5*ls1, 1mm), x_size=ws1, y_size=ls1)
  Back.subtract(Rectangle7, Rectangle8)
  Air [vacuum] = box(corner=(-5mm, -5mm, -3mm), size=(52mm, 31mm, 7mm))
  Rectangle9 = rectangle(corner=((l1+p)/418*500, (w1+p)/2-0.5*wf1, 0mm), y_size=wf1, z_size=1mm)
  Cylinder1 [pec] = cylinder(axis=Z, base_centre=(0.5*p, (w1+p)/2, 0mm), radius=0.5*d, height=1mm)
  Cylinder1_1..Cylinder1_6 [pec] = Cylinder1.duplicate_along_line(step=(0mm, 1.5mm, 0mm), total=7)
  Cylinder1_7..Cylinder1_12 [pec] = Cylinder1.duplicate_along_line(step=(0mm, -1.5mm, 0mm), total=7)
  Cylinder2 [pec] = cylinder(axis=Z, base_centre=(1.5*p, 0.5*p, 0mm), radius=0.5*d, height=1mm)
  Cylinder2_1..Cylinder2_20 [pec] = Cylinder2.duplicate_along_line(step=(1.5mm, 0mm, 0mm), total=21)
  Cylinder3 [pec] = cylinder(axis=Z, base_centre=(1.5*p, 0.5*p+w1, 0mm), radius=0.5*d, height=1mm)
  Cylinder3_1..Cylinder3_20 [pec] = Cylinder3.duplicate_along_line(step=(1.5mm, 0mm, 0mm), total=21)
  Cylinder4 [pec] = cylinder(axis=Z, base_centre=(l1+0.5*p, 0.5*p, 0mm), radius=0.5*d, height=1mm)
  Cylinder5 [pec] = cylinder(axis=Z, base_centre=(l1+0.5*p, 0.5*p+w1, 0mm), radius=0.5*d, height=1mm)
  Cylinder4_1, Cylinder4_2, Cylinder4_3 [pec] = Cylinder4.duplicate_along_line(step=(0mm, 1.5mm, 0mm), total=4)
  Cylinder5_1, Cylinder5_2, Cylinder5_3 [pec] = Cylinder5.duplicate_along_line(step=(0mm, -1.5mm, 0mm), total=4)
  Cylinder6 [pec] = cylinder(axis=Z, base_centre=(0.5*p+l2+l4+l0, (w1+p)/2+0.5*s1, 0mm), radius=0.5*d, height=1mm)
  Cylinder7 [pec] = cylinder(axis=Z, base_centre=(0.5*p+l2+l5, (w1+p)/2-0.5*s1, 0mm), radius=0.5*d, height=1mm)
  Cylinder8 [pec] = cylinder(axis=Z, base_centre=(0.5*p+l2+l6, (w1+p)/2+0.5*s2, 0mm), radius=0.5*d, height=1mm)
  Cylinder9 [pec] = cylinder(axis=Z, base_centre=(0.5*p+l2+l6+s3, (w1+p)/2-0.5*s2, 0mm), radius=0.5*d, height=1mm)
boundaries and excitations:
  PerfE1: Perfect E Objects=[Back, Top]
  Rad1: Radiation Objects=Air
  1: Lumped Port Objects=Rectangle9 Modes{Mode1{IntLine{middle of Rectangle9.edge(z opposite corner) -> middle of Rectangle9.edge(z at corner)} CharImp=Zpi RenormImp=50ohm}} Impedance=50ohm
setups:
  Setup1: HfssDriven Frequency=10GHz MaxDeltaS=0.02 MaximumPasses=6 MinimumPasses=1 MinimumConvergedPasses=1 PercentRefinement=30 BasisOrder=1 PortAccuracy=2
    sweep Sweep: 8.5GHz to 11.5GHz step 0.01GHz; Type=Fast SaveFields
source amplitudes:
  1:1: 1W 0deg
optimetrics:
  ParametricSetup1: Parametric Sim._Setups=[Setup1]
    sweep l0: LIN -0.6mm 0.6mm 0.6mm
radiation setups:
  Infinite Sphere1: Infinite Sphere Theta=-180deg..180deg step 2deg Phi=-180deg..180deg step 2deg
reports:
  S Parameter Plot 1: dB(S(1,1)) vs Freq on Setup1 : Sweep [l0=all]
  Z Parameter Plot 1: re(Z(1,1)) vs Freq on Setup1 : Sweep [l0=all]
